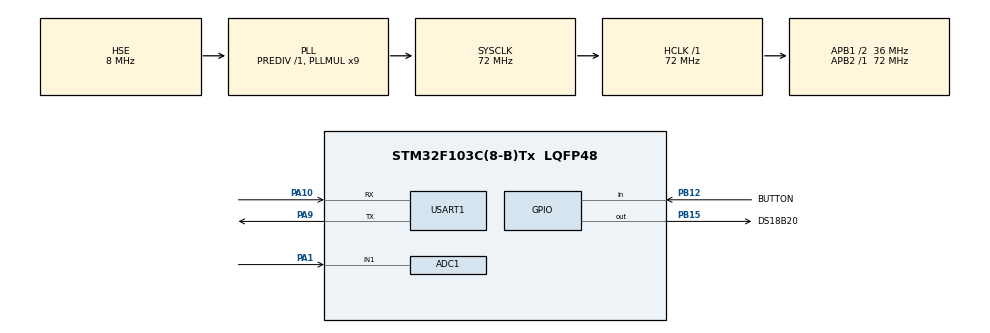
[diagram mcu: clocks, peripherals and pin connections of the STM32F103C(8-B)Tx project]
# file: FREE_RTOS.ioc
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ADC1.Channel-1\#ChannelRegularConversion=ADC_CHANNEL_1
ADC1.ContinuousConvMode=DISABLE
ADC1.NbrOfConversionFlag=1
ADC1.Rank-1\#ChannelRegularConversion=1
ADC1.SamplingTime-1\#ChannelRegularConversion=ADC_SAMPLETIME_1CYCLE_5
ADC1.master=1
FREERTOS.BinarySemaphores01=BinarySem,Dynamic,NULL
FREERTOS.HEAP_NUMBER=4
FREERTOS.Tasks01=SetTimeTask,40,512,StartSetTimeTask,Default,NULL,Dynamic,NULL,NULL;TempTask,32,512,StartTempTask,Default,NULL,Dynamic,NULL,NULL;HumiTask,32,512,StartHumiTask,Default,NULL,Dynamic,NULL,NULL;LightTask,32,512,StartLightTask,Default,NULL,Dynamic,NULL,NULL
FREERTOS.configTOTAL_HEAP_SIZE=9000
Mcu.Family=STM32F1
Mcu.Name=STM32F103C(8-B)Tx
Mcu.Package=LQFP48
NVIC.ADC1_2_IRQn=true\:5\:0\:true\:false\:true\:true\:true\:true
NVIC.PriorityGroup=NVIC_PRIORITYGROUP_4
NVIC.TIM1_UP_IRQn=true\:15\:0\:false\:false\:true\:false\:false\:true
NVIC.TimeBase=TIM1_UP_IRQn
NVIC.TimeBaseIP=TIM1
NVIC.USART1_IRQn=true\:5\:0\:true\:false\:true\:true\:true\:true
PA1.Signal=ADCx_IN1
PA10.Mode=Asynchronous
PA10.Signal=USART1_RX
PA13.Mode=Serial_Wire
PA13.Signal=SYS_JTMS-SWDIO
PA14.Mode=Serial_Wire
PA14.Signal=SYS_JTCK-SWCLK
PA9.Mode=Asynchronous
PA9.Signal=USART1_TX
PB12.GPIO_Label=BUTTON
PB12.Signal=GPIO_Input
PB15.GPIO_Label=DS18B20
PB15.Signal=GPIO_Output
PD0-OSC_IN.Mode=HSE-External-Oscillator
PD0-OSC_IN.Signal=RCC_OSC_IN
PD1-OSC_OUT.Mode=HSE-External-Oscillator
PD1-OSC_OUT.Signal=RCC_OSC_OUT
ProjectManager.HeapSize=0x200
ProjectManager.StackSize=0x400
ProjectManager.TargetToolchain=MDK-ARM V5
RCC.ADCPresc=RCC_ADCPCLK2_DIV8
RCC.AHBFreq_Value=72000000
RCC.APB1CLKDivider=RCC_HCLK_DIV2
RCC.APB1Freq_Value=36000000
RCC.APB1TimFreq_Value=72000000
RCC.APB2Freq_Value=72000000
RCC.APB2TimFreq_Value=72000000
RCC.HCLKFreq_Value=72000000
RCC.PLLMUL=RCC_PLL_MUL9
RCC.PLLSourceVirtual=RCC_PLLSOURCE_HSE
RCC.SYSCLKFreq_VALUE=72000000
RCC.SYSCLKSource=RCC_SYSCLKSOURCE_PLLCLK
RCC.USBFreq_Value=72000000
SH.ADCx_IN1.0=ADC1_IN1,IN1
TIM3.Prescaler=72-1
USART1.VirtualMode=VM_ASYNC
VP_FREERTOS_VS_CMSIS_V2.Mode=CMSIS_V2
VP_SYS_VS_tim1.Mode=TIM1
VP_TIM3_VS_ClockSourceINT.Mode=Internal
board=custom

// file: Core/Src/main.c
/* USER CODE BEGIN Header */
/**
  ******************************************************************************
  * @file           : main.c
  * @brief          : Main program body
  ******************************************************************************
  * @attention
  *
  * <h2><center>&copy; Copyright (c) 2022 STMicroelectronics.
  * All rights reserved.</center></h2>
  *
  * This software component is licensed by ST under Ultimate Liberty license
  * SLA0044, the "License"; You may not use this file except in compliance with
  * the License. You may obtain a copy of the License at:
  *                             www.st.com/SLA0044
  *
  ******************************************************************************
  */
/* USER CODE END Header */
#include "main.h"
#include "cmsis_os.h"

/* USER CODE BEGIN Includes */
#include <stdio.h>
#include <DS18B20.h>
#include <math.h>
/* USER CODE END Includes */

/* USER CODE BEGIN PD */
#define SETCODE "SetTime"
/* USER CODE END PD */

/* USER CODE BEGIN PM */
__IO uint32_t T1 = 2000;
uint16_t u16_ADCVal;
float f_Humi;
uint8_t Rx_Buffer[20] = "";
uint8_t Rx_data;
uint8_t _rxIndex;
uint8_t Rx_Flag = 0;
uint8_t CheckSet = 0;
/* USER CODE END PM */

ADC_HandleTypeDef hadc1;

TIM_HandleTypeDef htim3;

UART_HandleTypeDef huart1;

/* Definitions for SetTimeTask */
osThreadId_t SetTimeTaskHandle;
const osThreadAttr_t SetTimeTask_attributes = {
  .name = "SetTimeTask",
  .stack_size = 512 * 4,
  .priority = (osPriority_t) osPriorityHigh,
};
/* Definitions for TempTask */
osThreadId_t TempTaskHandle;
const osThreadAttr_t TempTask_attributes = {
  .name = "TempTask",
  .stack_size = 512 * 4,
  .priority = (osPriority_t) osPriorityAboveNormal,
};
/* Definitions for HumiTask */
osThreadId_t HumiTaskHandle;
const osThreadAttr_t HumiTask_attributes = {
  .name = "HumiTask",
  .stack_size = 512 * 4,
  .priority = (osPriority_t) osPriorityAboveNormal,
};
/* Definitions for LightTask */
osThreadId_t LightTaskHandle;
const osThreadAttr_t LightTask_attributes = {
  .name = "LightTask",
  .stack_size = 512 * 4,
  .priority = (osPriority_t) osPriorityAboveNormal,
};
/* Definitions for BinarySem */
osSemaphoreId_t BinarySemHandle;
const osSemaphoreAttr_t BinarySem_attributes = {
  .name = "BinarySem"
};

void SystemClock_Config(void);
static void MX_GPIO_Init(void);
static void MX_ADC1_Init(void);
static void MX_USART1_UART_Init(void);
static void MX_TIM3_Init(void);
void StartSetTimeTask(void *argument);
void StartTempTask(void *argument);
void StartHumiTask(void *argument);
void StartLightTask(void *argument);

/* USER CODE BEGIN 0 */
struct __FILE
{
	int handle;
	/* Whatever you require here. If the only file you are using is */
	/* standard output using printf() for debugging, no file handling */
	/* is required. */
};

FILE __stdout;

int fputc(int ch, FILE *f)
{
	HAL_UART_Transmit(&huart1, (uint8_t *)&ch, 1, 0xFFFF);
	return ch;
}

int ferror(FILE *f)
{
	/* Your implementation of ferror(). */
	return 0;
}
void do_SetTimeTask (void)
{
	uint8_t data[]="\nSetTimeTask is running .. ";
	HAL_UART_Transmit(&huart1,data,sizeof(data)-1, 100);
}

void do_TempTask (void)
{
	uint8_t data[]="\nTempTask is running .. ";
	HAL_UART_Transmit(&huart1,data,sizeof(data)-1, 100);
}

void do_HumiTask (void)
{
	uint8_t data[]="\nHumiTask is running .. ";
	HAL_UART_Transmit(&huart1,data,sizeof(data)-1, 100);
}
void do_LightTask (void)
{
	uint8_t data[]="\nLightTask is running .. ";
	HAL_UART_Transmit(&huart1,data,sizeof(data)-1, 100);
}
void HAL_UART_RxCpltCallback(UART_HandleTypeDef *huart)
{
  if(huart -> Instance == USART1)
	{
		if(Rx_data != 13)
		{
			Rx_Buffer[_rxIndex++] = Rx_data;
		}
		else if(Rx_data == 13)
		{
			_rxIndex = 0;
			Rx_Flag = 1;
		}
		HAL_UART_Receive_IT(&huart1, &Rx_data, 1);
	}
}
void CheckSetCode(uint8_t *dtpr)
{
	uint8_t sum = 0;						//Tong kiem tra
	for(int i = 0 ; i < 7; i ++)
	{
		sum += dtpr[i] - (uint8_t)SETCODE[i];//Cong hieu tung ky tu cua 2 mang
	}
	if(sum == 0)			//Tong hieu bang 0 => hai mang tuong tu
		CheckSet = 1;
	else if (sum != 0)
		CheckSet = 0;		//Tong hieu khac 0 => Hai mang khac nhau
}

void getTime(uint8_t *dtpr) //SetTime 2000 <CR>
{
	uint32_t sum = 0;				//Gia tri SetTime
	uint8_t Time_array[12];	//Mang luu tru ky tu gia tri SetTime
	uint8_t counter = 0;
	for(int i = 8; i < 20; i++)					//Kiem tra cac ky tu la so
	{
		if(dtpr[i] <= 57 && dtpr[i] >= 48)
		{
			Time_array[i-8] = dtpr[i] - 48;	//Doi ve gia tri int
			counter++;											//Neu la ky tu so thi tang counter
		}
		else if( dtpr[i] >57 || dtpr[i] < 48)
		{
			break;
		}
	}
	for(int i = 0; i < counter; i++)
	{
		sum += Time_array[i]*pow(10,(double)(counter - i - 1));	//Tinh gia tri SetTime
	}
	T1 = sum;		//Gan gia tri cho chu ky T1
	}
void HAL_ADC_ConvCpltCallback(ADC_HandleTypeDef* hadc)
{
  if(hadc -> Instance == ADC1)
	{
		u16_ADCVal = HAL_ADC_GetValue(&hadc1);
		f_Humi = (100.0 - (float)(u16_ADCVal)/4095*100);
	}
}
/* USER CODE END 0 */

int main(void)
{

  /* MCU Configuration--------------------------------------------------------*/

  /* Reset of all peripherals, Initializes the Flash interface and the Systick. */
  HAL_Init();

  /* Configure the system clock */
  SystemClock_Config();

  /* Initialize all configured peripherals */
  MX_GPIO_Init();
  MX_ADC1_Init();
  MX_USART1_UART_Init();
  MX_TIM3_Init();
  /* USER CODE BEGIN 2 */
	HAL_UART_Receive_IT(&huart1,&Rx_data,1);

  /* USER CODE END 2 */

  /* Init scheduler */
  osKernelInitialize();

  /* Create the semaphores(s) */
  /* creation of BinarySem */
  BinarySemHandle = osSemaphoreNew(1, 1, &BinarySem_attributes);

  /* Create the thread(s) */
  /* creation of SetTimeTask */
  SetTimeTaskHandle = osThreadNew(StartSetTimeTask, NULL, &SetTimeTask_attributes);

  /* creation of TempTask */
  TempTaskHandle = osThreadNew(StartTempTask, NULL, &TempTask_attributes);

  /* creation of HumiTask */
  HumiTaskHandle = osThreadNew(StartHumiTask, NULL, &HumiTask_attributes);

  /* creation of LightTask */
  LightTaskHandle = osThreadNew(StartLightTask, NULL, &LightTask_attributes);

  /* Start scheduler */
  osKernelStart();

  /* We should never get here as control is now taken by the scheduler */
  /* Infinite loop */
  while (1)
  {

  }
}

void SystemClock_Config(void)
{
  RCC_OscInitTypeDef RCC_OscInitStruct = {0};
  RCC_ClkInitTypeDef RCC_ClkInitStruct = {0};
  RCC_PeriphCLKInitTypeDef PeriphClkInit = {0};

  /** Initializes the RCC Oscillators according to the specified parameters
  * in the RCC_OscInitTypeDef structure.
  */
  RCC_OscInitStruct.OscillatorType = RCC_OSCILLATORTYPE_HSE;
  RCC_OscInitStruct.HSEState = RCC_HSE_ON;
  RCC_OscInitStruct.HSEPredivValue = RCC_HSE_PREDIV_DIV1;
  RCC_OscInitStruct.HSIState = RCC_HSI_ON;
  RCC_OscInitStruct.PLL.PLLState = RCC_PLL_ON;
  RCC_OscInitStruct.PLL.PLLSource = RCC_PLLSOURCE_HSE;
  RCC_OscInitStruct.PLL.PLLMUL = RCC_PLL_MUL9;
  if (HAL_RCC_OscConfig(&RCC_OscInitStruct) != HAL_OK)
  {
    Error_Handler();
  }
  /** Initializes the CPU, AHB and APB buses clocks
  */
  RCC_ClkInitStruct.ClockType = RCC_CLOCKTYPE_HCLK|RCC_CLOCKTYPE_SYSCLK
                              |RCC_CLOCKTYPE_PCLK1|RCC_CLOCKTYPE_PCLK2;
  RCC_ClkInitStruct.SYSCLKSource = RCC_SYSCLKSOURCE_PLLCLK;
  RCC_ClkInitStruct.AHBCLKDivider = RCC_SYSCLK_DIV1;
  RCC_ClkInitStruct.APB1CLKDivider = RCC_HCLK_DIV2;
  RCC_ClkInitStruct.APB2CLKDivider = RCC_HCLK_DIV1;

  if (HAL_RCC_ClockConfig(&RCC_ClkInitStruct, FLASH_LATENCY_2) != HAL_OK)
  {
    Error_Handler();
  }
  PeriphClkInit.PeriphClockSelection = RCC_PERIPHCLK_ADC;
  PeriphClkInit.AdcClockSelection = RCC_ADCPCLK2_DIV8;
  if (HAL_RCCEx_PeriphCLKConfig(&PeriphClkInit) != HAL_OK)
  {
    Error_Handler();
  }
}

static void MX_ADC1_Init(void)
{

  ADC_ChannelConfTypeDef sConfig = {0};

  /** Common config
  */
  hadc1.Instance = ADC1;
  hadc1.Init.ScanConvMode = ADC_SCAN_DISABLE;
  hadc1.Init.ContinuousConvMode = DISABLE;
  hadc1.Init.DiscontinuousConvMode = DISABLE;
  hadc1.Init.ExternalTrigConv = ADC_SOFTWARE_START;
  hadc1.Init.DataAlign = ADC_DATAALIGN_RIGHT;
  hadc1.Init.NbrOfConversion = 1;
  if (HAL_ADC_Init(&hadc1) != HAL_OK)
  {
    Error_Handler();
  }
  /** Configure Regular Channel
  */
  sConfig.Channel = ADC_CHANNEL_1;
  sConfig.Rank = ADC_REGULAR_RANK_1;
  sConfig.SamplingTime = ADC_SAMPLETIME_1CYCLE_5;
  if (HAL_ADC_ConfigChannel(&hadc1, &sConfig) != HAL_OK)
  {
    Error_Handler();
  }

}

static void MX_TIM3_Init(void)
{

  TIM_ClockConfigTypeDef sClockSourceConfig = {0};
  TIM_MasterConfigTypeDef sMasterConfig = {0};

  htim3.Instance = TIM3;
  htim3.Init.Prescaler = 72-1;
  htim3.Init.CounterMode = TIM_COUNTERMODE_UP;
  htim3.Init.Period = 65535;
  htim3.Init.ClockDivision = TIM_CLOCKDIVISION_DIV1;
  htim3.Init.AutoReloadPreload = TIM_AUTORELOAD_PRELOAD_DISABLE;
  if (HAL_TIM_Base_Init(&htim3) != HAL_OK)
  {
    Error_Handler();
  }
  sClockSourceConfig.ClockSource = TIM_CLOCKSOURCE_INTERNAL;
  if (HAL_TIM_ConfigClockSource(&htim3, &sClockSourceConfig) != HAL_OK)
  {
    Error_Handler();
  }
  sMasterConfig.MasterOutputTrigger = TIM_TRGO_RESET;
  sMasterConfig.MasterSlaveMode = TIM_MASTERSLAVEMODE_DISABLE;
  if (HAL_TIMEx_MasterConfigSynchronization(&htim3, &sMasterConfig) != HAL_OK)
  {
    Error_Handler();
  }

}

static void MX_USART1_UART_Init(void)
{

  huart1.Instance = USART1;
  huart1.Init.BaudRate = 115200;
  huart1.Init.WordLength = UART_WORDLENGTH_8B;
  huart1.Init.StopBits = UART_STOPBITS_1;
  huart1.Init.Parity = UART_PARITY_NONE;
  huart1.Init.Mode = UART_MODE_TX_RX;
  huart1.Init.HwFlowCtl = UART_HWCONTROL_NONE;
  huart1.Init.OverSampling = UART_OVERSAMPLING_16;
  if (HAL_UART_Init(&huart1) != HAL_OK)
  {
    Error_Handler();
  }

}

static void MX_GPIO_Init(void)
{
  GPIO_InitTypeDef GPIO_InitStruct = {0};

  /* GPIO Ports Clock Enable */
  __HAL_RCC_GPIOD_CLK_ENABLE();
  __HAL_RCC_GPIOA_CLK_ENABLE();
  __HAL_RCC_GPIOB_CLK_ENABLE();

  /*Configure GPIO pin Output Level */
  HAL_GPIO_WritePin(DS18B20_GPIO_Port, DS18B20_Pin, GPIO_PIN_RESET);

  /*Configure GPIO pin : BUTTON_Pin */
  GPIO_InitStruct.Pin = BUTTON_Pin;
  GPIO_InitStruct.Mode = GPIO_MODE_INPUT;
  GPIO_InitStruct.Pull = GPIO_NOPULL;
  HAL_GPIO_Init(BUTTON_GPIO_Port, &GPIO_InitStruct);

  /*Configure GPIO pin : DS18B20_Pin */
  GPIO_InitStruct.Pin = DS18B20_Pin;
  GPIO_InitStruct.Mode = GPIO_MODE_OUTPUT_PP;
  GPIO_InitStruct.Pull = GPIO_NOPULL;
  GPIO_InitStruct.Speed = GPIO_SPEED_FREQ_LOW;
  HAL_GPIO_Init(DS18B20_GPIO_Port, &GPIO_InitStruct);

}

void StartSetTimeTask(void *argument)
{
  /* USER CODE BEGIN 5 */
	__IO uint32_t tick = osKernelGetTickCount();
  /* Infinite loop */
  for(;;)
  {
		osSemaphoreAcquire(BinarySemHandle, osWaitForever);
		if(Rx_Flag == 1)
		{
			printf("\n%s @%d: Enter!",SetTimeTask_attributes.name,osKernelGetTickCount());

			do_SetTimeTask();
			printf("\nCommand: %s",Rx_Buffer);

			CheckSetCode(Rx_Buffer);
			if(CheckSet == 1)
			{
				getTime(Rx_Buffer);
				printf("\nNow period time : %d",T1);
				printf("\nPress Button to Confirm Change!");

				while(HAL_GPIO_ReadPin(BUTTON_GPIO_Port,BUTTON_Pin) == GPIO_PIN_RESET);
				printf("\nChange is confirmed!");
			}
			else if (CheckSet == 0)
			{
				printf("\nWrong Command!");
				printf("\nNow period time : %d",T1);
			}
			Rx_Flag = 0;
			tick+= 1000;
			printf("\n%s @%d: exit!\n",SetTimeTask_attributes.name,osKernelGetTickCount());
		}
		else if( Rx_Flag == 0)
		{
			tick += 1000;
		}
		osSemaphoreRelease(BinarySemHandle);
		osDelayUntil(tick);
  }
  /* USER CODE END 5 */
}

void StartTempTask(void *argument)
{
  /* USER CODE BEGIN StartTempTask */
	//DS18B20 Init
	DS18B20_Name DS1;
	DS18B20_Init(&DS1, &htim3, DS18B20_GPIO_Port, DS18B20_Pin);

	//Variable
	__IO uint32_t tick = osKernelGetTickCount();
	float f_Temp;
  /* Infinite loop */
  for(;;)
  {
		osSemaphoreAcquire(BinarySemHandle, osWaitForever);
		printf("\n%s @%d: Enter!",TempTask_attributes.name,osKernelGetTickCount());

		do_TempTask();

    f_Temp = DS18B20_ReadTemp(&DS1);
		printf("\nTemp: %2.2f",f_Temp);

		printf("\n%s @%d: Exit!\n",TempTask_attributes.name,osKernelGetTickCount());
		osSemaphoreRelease(BinarySemHandle);
		tick += T1;
		osDelayUntil(tick);

  }

  /* USER CODE END StartTempTask */
}

void StartHumiTask(void *argument)
{
  /* USER CODE BEGIN StartHumiTask */
	__IO uint32_t tick = osKernelGetTickCount();

  /* Infinite loop */
  for(;;)
  {
		osSemaphoreAcquire(BinarySemHandle, osWaitForever);
		printf("\n%s @%d: Enter!",HumiTask_attributes.name,osKernelGetTickCount());
		tick += T1;
		do_HumiTask();

		HAL_ADC_Start_IT(&hadc1);
		HAL_Delay(50);
		printf("\nHumidity: %2.2f%%",f_Humi);

		printf("\n%s @%d: Exit!\n",HumiTask_attributes.name,osKernelGetTickCount());

		osSemaphoreRelease(BinarySemHandle);

		osDelayUntil(tick);
  }
  /* USER CODE END StartHumiTask */
}

void StartLightTask(void *argument)
{
  /* USER CODE BEGIN StartLightTask */
	__IO uint32_t tick = osKernelGetTickCount();
	float f_Light = 65000;
  /* Infinite loop */
  for(;;)
  {
		osSemaphoreAcquire(BinarySemHandle, osWaitForever);
    printf("\n%s @%d: Enter!",LightTask_attributes.name,osKernelGetTickCount());
		do_LightTask();

		printf("\nLight: %2.2f",f_Light);

		printf("\n%s @%d: Exit!\n",LightTask_attributes.name,osKernelGetTickCount());
		osSemaphoreRelease(BinarySemHandle);

		tick += T1;
		osDelayUntil(tick);
  }
  /* USER CODE END StartLightTask */
}

void HAL_TIM_PeriodElapsedCallback(TIM_HandleTypeDef *htim)
{
  if (htim->Instance == TIM1) {
    HAL_IncTick();
  }
}

void Error_Handler(void)
{
  __disable_irq();
  while (1)
  {
  }
}

/************************ (C) COPYRIGHT STMicroelectronics *****END OF FILE****/
